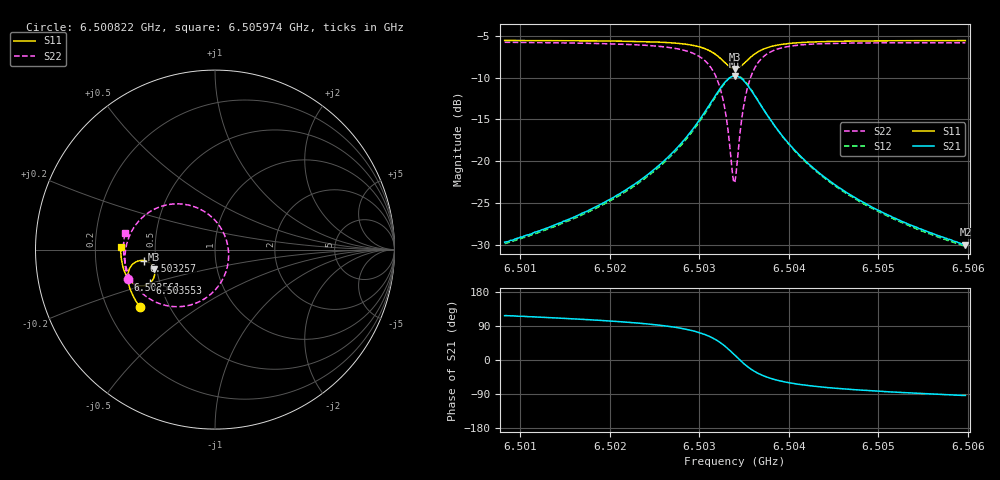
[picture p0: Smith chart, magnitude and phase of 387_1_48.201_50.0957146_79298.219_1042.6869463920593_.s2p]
#  HZ  S  RI  R  50.00
! Rohde & Schwarz Vector Network Analyzer
! Rohde-Schwarz,ZNB20-2Port,1311601062101988,3.16
! Created: UTC 3/20/2024, 11:53:21 AM
! freq[Hz]  re:S11  im:S11  re:S21  im:S21  re:S12  im:S12  re:S22  im:S22
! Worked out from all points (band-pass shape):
!   401 points, 6.500822 GHz to 6.505974 GHz, reference 50 ohm
!   highest |S21| = -9.80 dB at 6.503398 GHz (marker M1); lowest = -30.0 dB at 6.505974 GHz (marker M2)
!   |S21| within 3 dB of the highest: 6.503142 GHz to 6.503656 GHz (514.9 kHz wide, 0.00792 % of centre)
!   lowest |S11| = -9.0 dB at 6.503398 GHz (marker M3), VSWR 2.11, Z = 24.2 - j6.07 ohm
!   |S11| at or under -10 dB: nowhere
!   |S22| runs from -22.6 to -5.8 dB; largest |S21 - S12| = 0.011
!   S11 on the Smith chart (normalised r, x): 6.500822 GHz: 0.34, -0.30; 6.502561 GHz: 0.33, -0.15; 6.503257 GHz: 0.43, -0.06; 6.503553 GHz: 0.44, -0.20; 6.505974 GHz: 0.31, +0.01
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6.5008224e9  -0.4204 -0.317  -0.0149 0.0292  -0.0133 0.0292  -0.486 -0.1659
6.5016854e9  -0.4583 -0.2543  -0.0145 0.0465  -0.0122 0.0461  -0.5012 -0.076
6.5021362e9  -0.4748 -0.2153  -0.0121 0.0641  -0.00916 0.063  -0.4999 -0.0143
6.5025484e9  -0.4853 -0.1711  -0.00328 0.0942  0.000342 0.0921  -0.4813 0.0647
6.5025612e9  -0.4855 -0.1693  -0.00262 0.0956  0.00084 0.0933  -0.4801 0.0677
6.502806e9  -0.485 -0.1343  0.0153 0.1286  0.0191 0.1248  -0.4422 0.1372
6.5029863e9  -0.4737 -0.1012  0.0495 0.1645  0.0528 0.1591  -0.3749 0.2031
6.5031537e9  -0.4393 -0.068  0.1263 0.1977  0.1274 0.1913  -0.2342 0.2541
6.5032568e9  -0.3972 -0.0608  0.2107 0.1893  0.2109 0.1841  -0.0873 0.2275
6.5033083e9  -0.372 -0.0693  0.2585 0.162  0.2592 0.1575  -0.00762 0.1712
6.5033727e9  -0.3455 -0.0952  0.3061 0.0995  0.3085 0.0946  0.0641 0.0509
6.5033985e9  -0.339 -0.1095  0.3163 0.0679  0.3194 0.062  0.0752 -0.00804
6.5034113e9  -0.3371 -0.1171  0.3191 0.0513  0.3222 0.0451  0.076 -0.0383
6.5034886e9  -0.3428 -0.1614  0.3028 -0.0422  0.3048 -0.0519  0.0199 -0.2017
6.503553e9  -0.3635 -0.1871  0.2609 -0.0959  0.2598 -0.1067  -0.0746 -0.2837
6.5036561e9  -0.4026 -0.2021  0.1874 -0.132  0.1823 -0.141  -0.2223 -0.3179
6.5038235e9  -0.4481 -0.1924  0.107 -0.1293  0.1001 -0.134  -0.3672 -0.2725
6.5040038e9  -0.4753 -0.171  0.0632 -0.1097  0.0571 -0.1119  -0.4384 -0.2087
6.5042614e9  -0.496 -0.141  0.0337 -0.0859  0.029 -0.0864  -0.4814 -0.1373
6.5046607e9  -0.5118 -0.1001  0.0144 -0.0625  0.0112 -0.0623  -0.5039 -0.0609
6.5051244e9  -0.521 -0.0576  0.00483 -0.0471  0.00284 -0.0464  -0.5096 0.00267
6.5059745e9  -0.5258 0.014  -0.00191 -0.0316  -0.00338 -0.0309  -0.5017 0.0911
